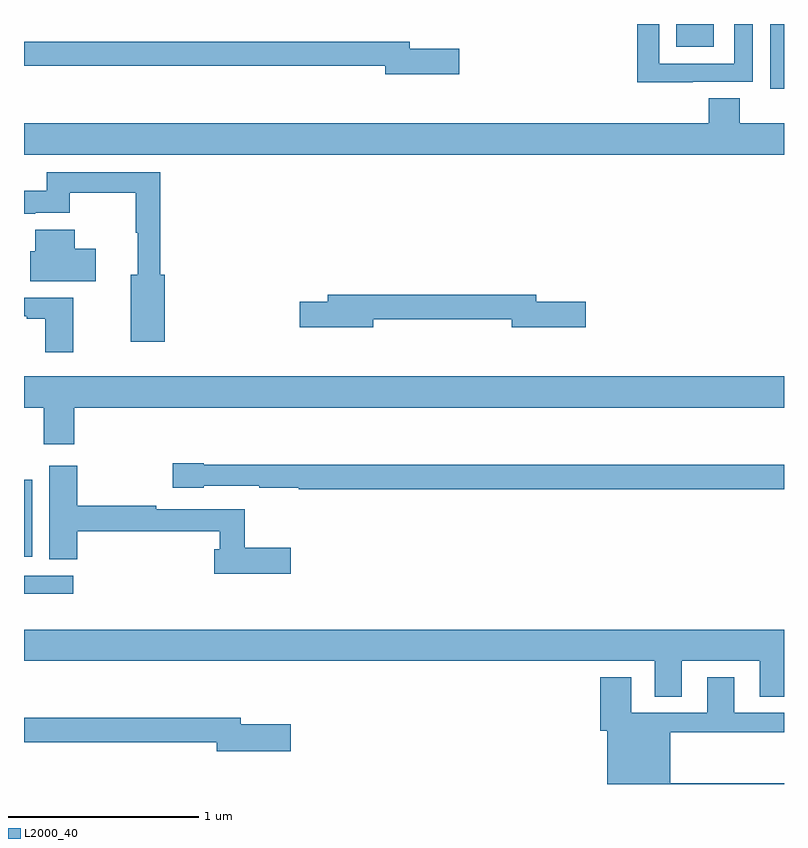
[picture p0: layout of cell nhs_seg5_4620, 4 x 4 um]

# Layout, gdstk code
import gdstk
lib = gdstk.Library(unit=1e-6, precision=1e-09)
def R(c, l, rs):  # rectangles x0, y0, x1, y1
    for r in rs: c.add(gdstk.rectangle(r[:2], r[2:], *l))
def P(c, l, *ps):  # polygons
    for p in ps: c.add(gdstk.Polygon(p, *l))
L2000_40 = (2000, 40)

nhs_seg5_4620 = lib.new_cell('nhs_seg5_4620')
R(nhs_seg5_4620, L2000_40, [(383,835.8,383.26,835.896), (383,835.994,383.044,836.401), (386.928,838.458,387,838.799), (386.432,838.679,386.629,838.799)])
P(nhs_seg5_4620, L2000_40, [(386.519,838.494),(386.835,838.494),(386.835,838.799),(386.739,838.799),(386.739,838.59),(386.343,838.59),(386.343,838.799),(386.227,838.799),(386.227,838.493),(386.519,838.493)],
  [(385.291,838.67),(385.03,838.67),(385.03,838.706),(383,838.706),(383,838.578),(384.902,838.578),(384.902,838.535),(385.291,838.535)],
  [(387,838.276),(386.768,838.276),(386.768,838.409),(386.603,838.409),(386.603,838.276),(383,838.276),(383,838.112),(387,838.112)],
  [(383.741,837.478),(383.717,837.478),(383.717,838.02),(383.121,838.02),(383.121,837.922),(383,837.922),(383,837.8),(383.058,837.8),(383.058,837.806),(383.242,837.806),(383.242,837.912),(383.589,837.912),(383.589,837.701),(383.599,837.701),(383.599,837.478),(383.563,837.478),(383.563,837.126),(383.741,837.126)],
  [(383.377,837.615),(383.266,837.615),(383.266,837.716),(383.06,837.716),(383.06,837.603),(383.033,837.603),(383.033,837.446),(383.377,837.446)],
  [(384.838,837.246),(385.568,837.246),(385.568,837.203),(385.957,837.203),(385.957,837.338),(385.696,837.338),(385.696,837.374),(384.599,837.374),(384.599,837.338),(384.45,837.338),(384.45,837.203),(384.838,837.203)],
  [(383.259,837.357),(383,837.357),(383,837.261),(383.015,837.261),(383.015,837.249),(383.111,837.249),(383.111,837.072),(383.259,837.072)],
  [(383.264,836.78),(387,836.78),(387,836.944),(383,836.944),(383,836.78),(383.104,836.78),(383.104,836.586),(383.264,836.586)],
  [(387,836.479),(383.946,836.479),(383.946,836.487),(383.784,836.487),(383.784,836.357),(383.946,836.357),(383.946,836.37),(384.238,836.37),(384.238,836.358),(384.446,836.358),(384.446,836.35),(387,836.35)],
  [(384.403,836.043),(384.161,836.043),(384.161,836.244),(383.696,836.244),(383.696,836.264),(383.279,836.264),(383.279,836.473),(383.132,836.473),(383.132,835.981),(383.279,835.981),(383.279,836.128),(384.029,836.128),(384.029,836.035),(384.002,836.035),(384.002,835.906),(384.403,835.906)],
  [(386.461,835.448),(386.873,835.448),(386.873,835.258),(387,835.258),(387,835.612),(383,835.612),(383,835.448),(386.321,835.448),(386.321,835.258),(386.461,835.258)],
  [(387,834.802),(386.401,834.802),(386.401,835.072),(387,835.072),(387,835.173),(386.737,835.173),(386.737,835.36),(386.597,835.36),(386.597,835.173),(386.197,835.173),(386.197,835.36),(386.033,835.36),(386.033,835.08),(386.069,835.08),(386.069,834.799),(387,834.799)],
  [(384.403,835.113),(384.142,835.113),(384.142,835.147),(383,835.147),(383,835.018),(384.014,835.018),(384.014,834.971),(384.403,834.971)])

lib.write_gds('nhs_seg5_4620.gds')
